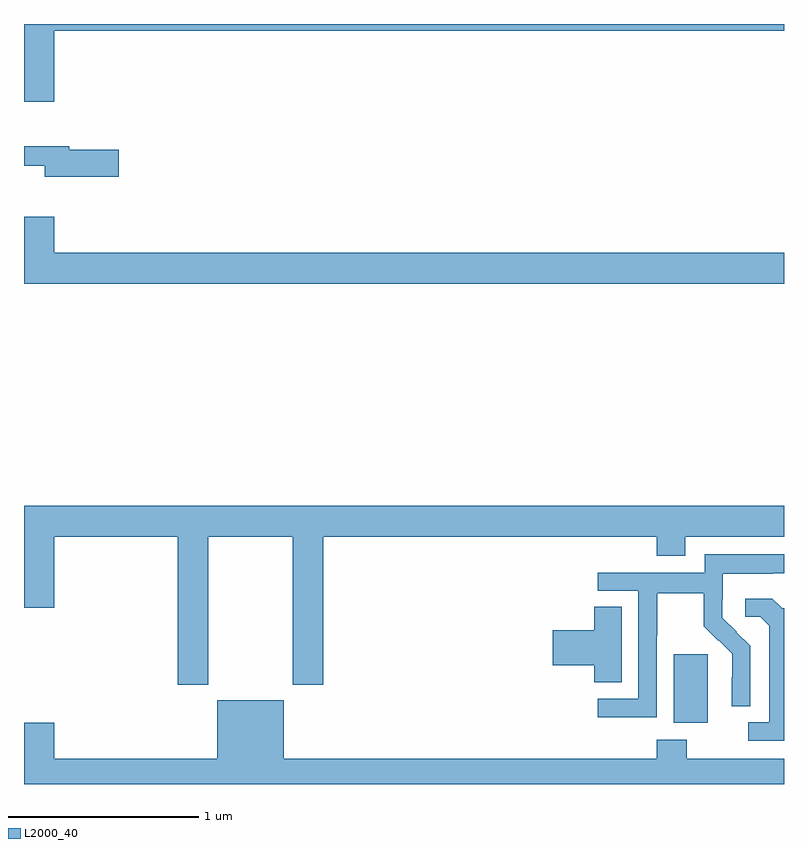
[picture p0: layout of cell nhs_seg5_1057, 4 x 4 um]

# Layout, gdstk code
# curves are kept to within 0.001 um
import gdstk
lib = gdstk.Library(unit=1e-6, precision=1e-09)
def R(c, l, rs):  # rectangles x0, y0, x1, y1
    for r in rs: c.add(gdstk.rectangle(r[:2], r[2:], *l))
def P(c, l, *ps):  # polygons
    for p in ps: c.add(gdstk.Polygon(p, *l))
L2000_40 = (2000, 40)

nhs_seg5_1057 = lib.new_cell('nhs_seg5_1057')
R(nhs_seg5_1057, L2000_40, [(180.419,849.122,180.598,849.483)])
P(nhs_seg5_1057, L2000_40, [(177.16,852.764),(181,852.764),(181,852.799),(177,852.799),(177,852.39),(177.16,852.39)],
  [(177.499,852.137),(177.238,852.137),(177.238,852.156),(177,852.156),(177,852.052),(177.11,852.052),(177.11,851.995),(177.499,851.995)],
  [(181,851.596),(177.16,851.596),(177.16,851.785),(177,851.785),(177,851.432),(181,851.432)],
  [(177.969,850.1),(178.414,850.1),(178.414,849.321),(178.574,849.321),(178.574,850.1),(180.329,850.1),(180.329,850.001),(180.481,850.001),(180.481,850.1),(181,850.1),(181,850.264),(177,850.264),(177,849.726),(177.16,849.726),(177.16,850.1),(177.809,850.1),(177.809,849.321),(177.969,849.321)],
  [(180.33,849.58),(180.333,849.58),(180.333,849.804),(180.577,849.804),(180.577,849.629),(180.654,849.552),(180.657,849.555),(180.728,849.485),(180.728,849.362),(180.726,849.362),(180.726,849.208),(180.822,849.208),(180.822,849.526),(180.676,849.674),(180.676,849.771),(180.678,849.771),(180.678,849.905),(180.941,849.905),(180.941,849.909),(181,849.909),(181,850.009),(180.582,850.009),(180.582,849.912),(180.021,849.912),(180.021,849.816),(180.234,849.816),(180.234,849.249),(180.021,849.249),(180.021,849.151),(180.33,849.151)],
  [(181,849.723),(180.99,849.723),(180.938,849.775),(180.795,849.775),(180.795,849.678),(180.876,849.678),(180.923,849.631),(180.923,849.123),(180.813,849.123),(180.813,849.027),(181,849.027)],
  [(180.145,849.731),(180.002,849.731),(180.002,849.608),(179.784,849.608),(179.784,849.425),(180.002,849.425),(180.002,849.334),(180.145,849.334)],
  [(181,848.932),(180.489,848.932),(180.489,849.031),(180.329,849.031),(180.329,848.932),(178.366,848.932),(178.366,849.241),(178.016,849.241),(178.016,848.932),(177.16,848.932),(177.16,849.121),(177,849.121),(177,848.799),(181,848.799)])

lib.write_gds('nhs_seg5_1057.gds')
